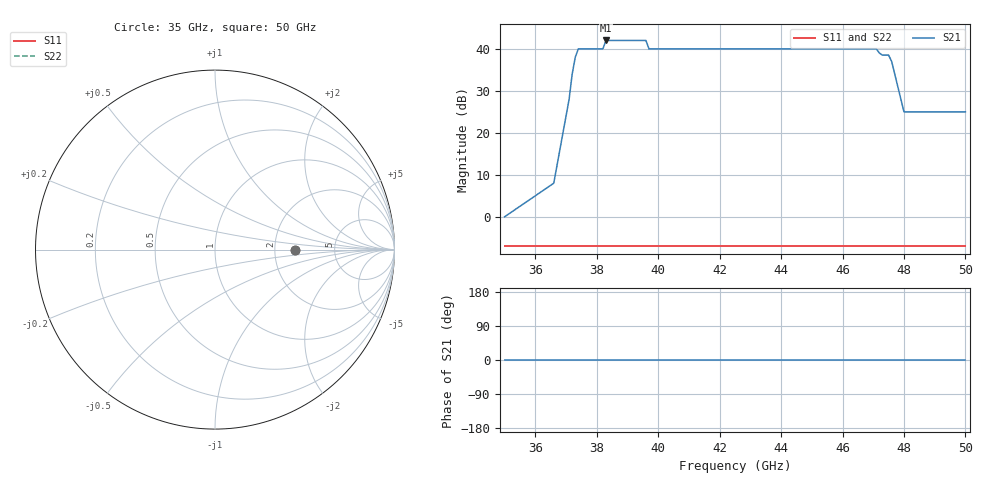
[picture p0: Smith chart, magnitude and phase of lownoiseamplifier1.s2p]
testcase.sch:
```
<Qucs Schematic 0.0.15>
<Properties>
  <View=76,-59,1020,668,1.15528,0,0>
  <Grid=10,10,1>
  <DataSet=testcase.dat>
  <DataDisplay=testcase.dpl>
  <OpenDisplay=1>
  <showFrame=0>
  <FrameText0=Title>
  <FrameText1=Drawn By:>
  <FrameText2=Date:>
  <FrameText3=Revision:>
</Properties>
<Symbol>
</Symbol>
<Components>
  <GND * 1 130 140 0 0 0 0>
  <GND * 1 310 60 0 0 0 0>
  <Eqn Tsky 1 220 130 -31 16 0 0 "Tsky_K=10" 1 "Tsky_C=Tsky_K-273.15" 0 "yes" 0>
  <Pac SkyLoad 1 130 110 18 -26 0 1 "1" 0 "50 Ohm" 0 "0 W" 0 "1 GHz" 0 "Tsky_C" 0>
  <.AC SpectralResponse 1 120 210 0 46 0 0 "lin" 0 "35 GHz" 1 "50 GHz" 1 "151" 0 "yes" 0>
  <Pac OutputPort 1 700 150 18 -26 0 1 "2" 0 "50 Ohm" 0 "0 W" 0 "1 GHz" 0 "-273.15" 0>
  <GND * 1 700 190 0 0 0 0>
  <Amp BackendAmplifier 1 590 120 -26 27 0 0 "20" 1 "50 Ohm" 0 "50 Ohm" 0 "5 dB" 0>
  <.SP SP1 1 350 180 0 58 0 0 "lin" 1 "35 GHz" 1 "50 GHz" 1 "151" 1 "no" 0 "1" 0 "2" 0 "no" 0 "no" 0>
  <SPfile LNA 1 310 20 -26 -59 0 0 "lownoiseamplifier1.s2p" 1 "rectangular" 0 "linear" 0 "open" 0 "2" 0>
  <COAX Line1 1 430 50 -26 16 0 0 "2.29" 1 "0.022e-6" 0 "1" 0 "2.95 mm" 0 "0.9 mm" 0 "1500 mm" 1 "4e-4" 0 "26.85" 0>
  <Eqn OutputVolts 1 570 220 -31 16 0 0 "Freq_GHz=acfrequency*1e-9" 0 "s21db=dB(S[2,1])" 0 "outvolts_log=10*log10(out.vn)" 1 "outvolts_tot_V=sum(out.vn)" 1 "yes" 0>
</Components>
<Wires>
  <700 180 700 190 "" 0 0 0 "">
  <130 -20 130 80 "" 0 0 0 "">
  <620 120 700 120 "out" 674 70 70 "">
  <530 120 560 120 "" 0 0 0 "">
  <310 50 310 60 "" 0 0 0 "">
  <130 -20 280 -20 "fem_in" 180 10 120 "">
  <280 -20 280 20 "" 0 0 0 "">
  <340 20 360 20 "" 0 0 0 "">
  <530 50 530 120 "" 0 0 0 "">
  <460 50 530 50 "" 0 0 0 "">
  <360 20 360 50 "" 0 0 0 "">
  <360 50 400 50 "" 0 0 0 "">
  <460 50 460 50 "bem_in" 480 10 0 "">
</Wires>
<Diagrams>
</Diagrams>
<Paintings>
  <Text 530 -50 12 #000000 0 "python-qucs test circuit\nbuilt by Andrea Zonca\n\n">
</Paintings>
```
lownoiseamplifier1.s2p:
# Ghz S DB R 50
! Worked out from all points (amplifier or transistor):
!   151 points, 35 GHz to 50 GHz, reference 50 ohm
!   highest |S21| = 42.0 dB at 38.3 GHz (marker M1)
!   |S21| within 3 dB of that: 37.35 GHz to 47.2 GHz (9.85 GHz wide, 23.3 % of centre)
!   unconditionally stable (mu >= 1): start of sweep to end of sweep
!   at 37.5 GHz: K = 320379127030786944.00, MAG = -120.0 dB, |S12| = - dB
!   at 42.5 GHz: K = 320379127030786944.00, MAG = -120.0 dB, |S12| = - dB
!   at 50 GHz: K = 1801624228578199040.00, MAG = -120.0 dB, |S12| = - dB
!   lowest NFmin = 0.20 dB at 39.1 GHz
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35  -7.00 0.0  0.00 0.0  -9999.00 0.0  -7.00 0.0
36.9  -7.00 0.0  20.00 0.0  -9999.00 0.0  -7.00 0.0
37.1  -7.00 0.0  28.00 0.0  -9999.00 0.0  -7.00 0.0
37.4  -7.00 0.0  40.00 0.0  -9999.00 0.0  -7.00 0.0
38.2  -7.00 0.0  40.00 0.0  -9999.00 0.0  -7.00 0.0
38.3  -7.00 0.0  42.00 0.0  -9999.00 0.0  -7.00 0.0
42.5  -7.00 0.0  40.00 0.0  -9999.00 0.0  -7.00 0.0
47.1  -7.00 0.0  40.00 0.0  -9999.00 0.0  -7.00 0.0
47.5  -7.00 0.0  38.50 0.0  -9999.00 0.0  -7.00 0.0
48  -7.00 0.0  25.00 0.0  -9999.00 0.0  -7.00 0.0
50  -7.00 0.0  25.00 0.0  -9999.00 0.0  -7.00 0.0
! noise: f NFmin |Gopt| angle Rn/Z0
35  0.7  0  0  0
36.6  0.5  0  0  0
38.3  0.3  0  0  0
40  0.2  0  0  0
41.6  0.2  0  0  0
43.3  0.2  0  0  0
45  0.2  0  0  0
46.6  0.2  0  0  0
48.3  0.2  0  0  0
50  0.2  0  0  0
